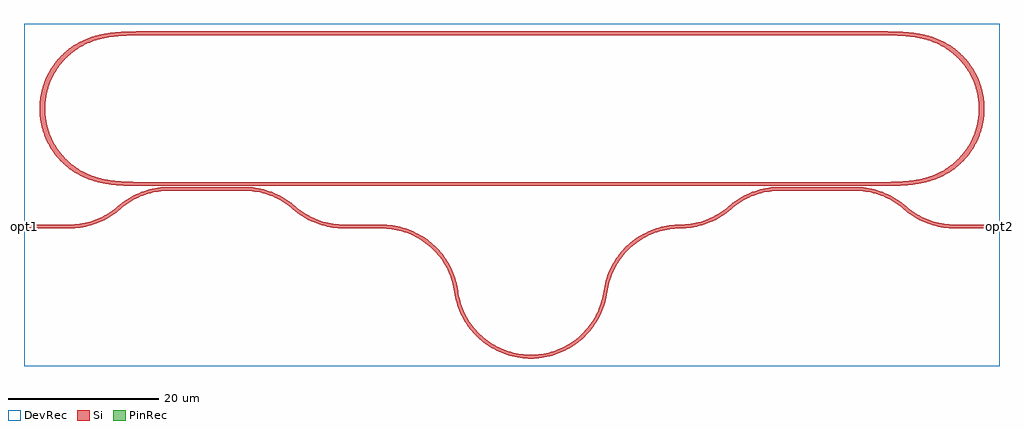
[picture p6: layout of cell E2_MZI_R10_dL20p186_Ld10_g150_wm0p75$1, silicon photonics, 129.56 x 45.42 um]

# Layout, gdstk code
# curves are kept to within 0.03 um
import gdstk
lib = gdstk.Library(unit=1e-6, precision=1e-09)
def R(c, l, rs):  # rectangles x0, y0, x1, y1
    for r in rs: c.add(gdstk.rectangle(r[:2], r[2:], *l))
def P(c, l, *ps):  # polygons
    for p in ps: c.add(gdstk.Polygon(p, *l))
Si = (1, 0)
PinRec = (1, 10)
DevRec = (68, 0)

c__e2ring_r10p000_lc95p084 = lib.new_cell('_E2ring_R10p000_Lc95p084_w0p500_wm0p750_tp30$1')
R(c__e2ring_r10p000_lc95p084, Si, [(-47.542,-10.25,47.542,-9.75), (-47.542,9.75,47.542,10.25)])
P(c__e2ring_r10p000_lc95p084, Si, [(-48.703,-10.25),(-51.688,-10.193),(-53.832,-9.976),(-54.808,-9.783),(-55.608,-9.565),(-56.39,-9.289),(-57.148,-8.954),(-58.011,-8.475),(-58.681,-8.02),(-59.433,-7.404),(-60.121,-6.719),(-60.74,-5.969),(-61.197,-5.301),(-61.673,-4.454),(-62.005,-3.715),(-62.322,-2.797),(-62.549,-1.852),(-62.682,-0.89),(-62.722,0.081),(-62.667,1.051),(-62.483,2.17),(-62.226,3.107),(-61.879,4.014),(-61.445,4.884),(-60.929,5.707),(-60.335,6.476),(-59.669,7.184),(-58.938,7.823),(-58.148,8.388),(-57.296,8.88),(-56.39,9.29),(-55.29,9.659),(-54.321,9.888),(-53.01,10.088),(-51.688,10.193),(-47.542,10.25),(-47.542,9.75),(-50.061,9.741),(-51.791,9.678),(-53.356,9.515),(-54.591,9.271),(-55.94,8.841),(-57.079,8.304),(-58.119,7.636),(-59.062,6.84),(-59.988,5.807),(-60.755,4.651),(-61.344,3.395),(-61.591,2.664),(-61.777,1.916),(-61.957,0.54),(-61.934,-0.847),(-61.71,-2.216),(-61.288,-3.538),(-60.972,-4.242),(-60.518,-5.048),(-60.082,-5.684),(-59.492,-6.398),(-58.95,-6.946),(-58.243,-7.543),(-57.611,-7.986),(-56.94,-8.379),(-56.086,-8.781),(-55.198,-9.101),(-54.131,-9.376),(-53.201,-9.537),(-51.005,-9.717),(-47.542,-9.75),(-47.542,-10.25)],
  [(47.542,-10.25),(47.542,-9.75),(50.218,-9.738),(51.791,-9.678),(53.201,-9.537),(54.438,-9.307),(55.348,-9.053),(56.231,-8.72),(57.079,-8.304),(57.868,-7.815),(58.836,-7.05),(59.595,-6.283),(60.263,-5.434),(60.902,-4.379),(61.344,-3.395),(61.71,-2.216),(61.902,-1.154),(61.972,-0.077),(61.902,1.155),(61.71,2.217),(61.398,3.25),(60.972,4.242),(60.435,5.179),(59.696,6.167),(58.95,6.946),(57.994,7.726),(57.216,8.227),(56.375,8.657),(55.497,9.004),(54.438,9.308),(53.045,9.559),(51.791,9.678),(50.061,9.741),(47.542,9.75),(47.542,10.25),(51.356,10.209),(53.504,10.026),(54.646,9.82),(55.608,9.565),(56.39,9.29),(57.296,8.88),(58.148,8.388),(58.938,7.823),(59.669,7.184),(60.335,6.476),(60.929,5.707),(61.445,4.884),(61.879,4.014),(62.226,3.107),(62.483,2.17),(62.648,1.212),(62.719,0.243),(62.695,-0.728),(62.577,-1.693),(62.366,-2.641),(62.064,-3.564),(61.673,-4.454),(61.282,-5.163),(60.74,-5.969),(60.121,-6.719),(59.552,-7.295),(58.938,-7.823),(58.148,-8.388),(57.296,-8.879),(56.543,-9.227),(55.608,-9.565),(54.808,-9.783),(53.01,-10.087),(50.859,-10.226)])

e2_mzi_r10_dl20p186_ld10 = lib.new_cell('E2_MZI_R10_dL20p186_Ld10_g150_wm0p75$1')
R(e2_mzi_r10_dl20p186_ld10, Si, [(-1,-0.25,0,0.25), (0,-0.25,5,0.25), (41.458,-0.25,46.458,0.25), (122.541,-0.25,127.541,0.25), (127.541,-0.25,128.541,0.25), (18.229,4.75,28.229,5.25), (99.313,4.75,109.313,5.25)])
P(e2_mzi_r10_dl20p186_ld10, Si, [(66.271,-17.523),(66.271,-17.023),(66.952,-16.999),(67.967,-16.874),(68.963,-16.644),(69.612,-16.433),(70.553,-16.032),(71.447,-15.536),(72.284,-14.948),(72.805,-14.509),(73.295,-14.035),(73.965,-13.262),(74.55,-12.423),(74.889,-11.832),(75.187,-11.218),(75.551,-10.263),(75.813,-9.274),(75.93,-8.602),(76.425,-8.671),(76.223,-9.726),(76.027,-10.416),(75.644,-11.42),(75.158,-12.379),(74.779,-12.988),(74.134,-13.848),(73.402,-14.635),(72.87,-15.116),(72.306,-15.558),(71.405,-16.144),(70.448,-16.633),(69.783,-16.902),(69.101,-17.124),(68.054,-17.367),(66.987,-17.498)],
  [(66.271,-17.523),(65.554,-17.498),(64.487,-17.367),(63.44,-17.124),(62.758,-16.902),(62.094,-16.633),(61.136,-16.144),(60.529,-15.764),(59.671,-15.116),(59.139,-14.635),(58.407,-13.848),(57.762,-12.988),(57.383,-12.379),(57.048,-11.746),(56.63,-10.755),(56.319,-9.726),(56.116,-8.671),(56.612,-8.602),(56.728,-9.274),(56.99,-10.263),(57.222,-10.904),(57.652,-11.832),(57.992,-12.423),(58.577,-13.262),(59.246,-14.035),(59.736,-14.509),(60.53,-15.154),(61.387,-15.712),(62.298,-16.177),(62.93,-16.433),(63.578,-16.644),(64.574,-16.874),(65.589,-16.999),(66.271,-17.023)],
  [(122.541,-0.25),(121.432,-0.19),(120.699,-0.083),(119.619,0.175),(118.917,0.412),(117.901,0.86),(117.254,1.219),(116.334,1.843),(115.762,2.313),(116.092,2.688),(116.637,2.241),(117.511,1.648),(118.445,1.152),(119.094,0.88),(120.101,0.56),(120.789,0.409),(121.837,0.275),(122.541,0.25)],
  [(56.116,-8.671),(56,-7.999),(55.738,-7.01),(55.374,-6.055),(55.076,-5.441),(54.736,-4.85),(54.151,-4.011),(53.482,-3.238),(52.992,-2.764),(52.198,-2.119),(51.341,-1.561),(50.431,-1.096),(49.799,-0.84),(49.15,-0.629),(48.154,-0.399),(47.139,-0.274),(46.458,-0.25),(46.458,0.25),(47.531,0.194),(48.241,0.094),(49.288,-0.149),(50.304,-0.499),(50.959,-0.791),(51.899,-1.314),(52.779,-1.931),(53.327,-2.393),(54.086,-3.154),(54.761,-3.991),(55.345,-4.893),(55.831,-5.852),(56.318,-7.2),(56.612,-8.602)],
  [(41.458,-0.25),(40.348,-0.19),(39.616,-0.083),(38.535,0.175),(37.834,0.412),(36.817,0.86),(36.17,1.219),(35.549,1.624),(34.678,2.313),(35.008,2.688),(35.553,2.241),(36.428,1.648),(37.361,1.152),(38.01,0.88),(39.017,0.56),(39.705,0.409),(40.753,0.275),(41.458,0.25)],
  [(115.762,2.313),(114.933,2.967),(114.343,3.352),(113.409,3.848),(112.76,4.12),(111.753,4.44),(111.065,4.591),(110.017,4.725),(109.313,4.75),(109.313,5.25),(110.422,5.19),(111.518,5.01),(112.588,4.713),(113.619,4.301),(114.914,3.584),(116.092,2.688)],
  [(92.864,2.313),(92.533,2.688),(93.711,3.584),(95.006,4.301),(96.038,4.713),(97.108,5.01),(98.204,5.19),(99.313,5.25),(99.313,4.75),(98.609,4.725),(97.561,4.591),(96.873,4.44),(95.866,4.12),(95.216,3.848),(94.283,3.352),(93.693,2.967)],
  [(86.084,-0.25),(86.084,0.25),(86.788,0.275),(87.836,0.409),(88.524,0.56),(89.531,0.88),(90.181,1.152),(91.114,1.648),(91.988,2.241),(92.533,2.688),(92.864,2.313),(92.291,1.843),(91.372,1.219),(90.724,0.86),(89.708,0.412),(89.006,0.175),(87.926,-0.083),(87.193,-0.19)],
  [(34.678,2.313),(33.849,2.967),(33.259,3.352),(32.325,3.848),(31.676,4.12),(30.669,4.44),(29.981,4.591),(28.933,4.725),(28.229,4.75),(28.229,5.25),(29.338,5.19),(30.434,5.01),(31.504,4.713),(32.536,4.301),(33.83,3.584),(35.008,2.688)],
  [(11.78,2.313),(11.449,2.688),(12.627,3.584),(13.922,4.301),(14.954,4.713),(16.024,5.01),(17.12,5.19),(18.229,5.25),(18.229,4.75),(17.525,4.725),(16.477,4.591),(15.789,4.44),(14.782,4.12),(14.132,3.848),(13.199,3.352),(12.609,2.967)],
  [(76.425,-8.671),(75.93,-8.602),(76.224,-7.2),(76.711,-5.852),(77.197,-4.893),(77.78,-3.991),(78.455,-3.154),(79.214,-2.393),(80.049,-1.715),(80.643,-1.314),(81.263,-0.954),(82.237,-0.499),(83.253,-0.149),(84.301,0.094),(85.01,0.194),(86.084,0.25),(86.084,-0.25),(85.402,-0.274),(84.388,-0.399),(83.391,-0.629),(82.743,-0.84),(82.111,-1.096),(81.2,-1.561),(80.343,-2.119),(79.549,-2.764),(78.827,-3.488),(78.39,-4.011),(77.99,-4.564),(77.465,-5.441),(77.035,-6.369),(76.804,-7.01),(76.617,-7.666)],
  [(5,-0.25),(5,0.25),(5.704,0.275),(6.752,0.409),(7.44,0.56),(8.447,0.88),(9.097,1.152),(10.03,1.648),(10.904,2.241),(11.449,2.688),(11.78,2.313),(11.207,1.843),(10.288,1.219),(9.64,0.86),(8.624,0.412),(7.922,0.175),(6.842,-0.083),(6.109,-0.19)])
R(e2_mzi_r10_dl20p186_ld10, DevRec, [(-1,-18.523,128.541,26.9)])
e2_mzi_r10_dl20p186_ld10.add(gdstk.FlexPath([(128.531,0),(128.551,0)], 0.5, ends="flush", simple_path=True, layer=1, datatype=10))  # PinRec
e2_mzi_r10_dl20p186_ld10.add(gdstk.FlexPath([(-0.99,0),(-1.01,0)], 0.5, ends="flush", simple_path=True, layer=1, datatype=10))  # PinRec
e2_mzi_r10_dl20p186_ld10.add(gdstk.Reference(c__e2ring_r10p000_lc95p084, (63.771,15.65)))
e2_mzi_r10_dl20p186_ld10.add(gdstk.Label('opt2', (128.541,0), layer=1, texttype=10))
e2_mzi_r10_dl20p186_ld10.add(gdstk.Label('opt1', (-1,0), layer=1, texttype=10))

lib.write_gds('E2_MZI_R10_dL20p186_Ld10_g150_wm0p75_1.gds')
